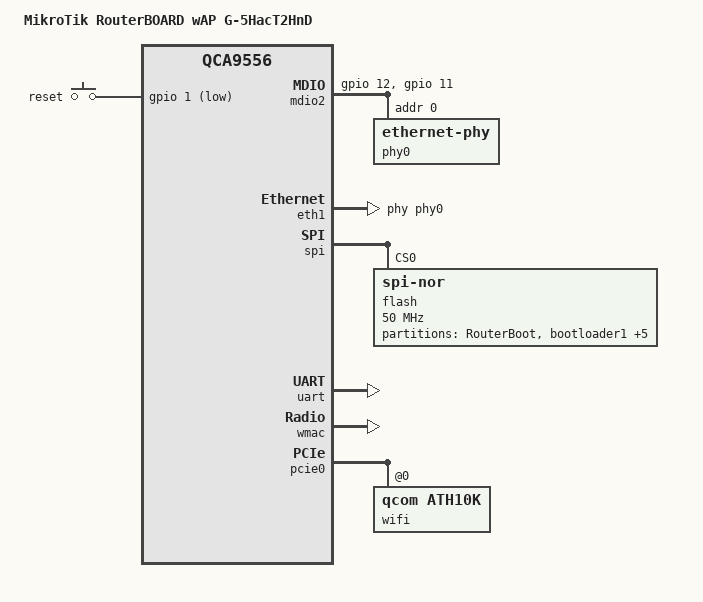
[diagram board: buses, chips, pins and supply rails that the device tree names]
// SPDX-License-Identifier: GPL-2.0-or-later OR MIT
/dts-v1/;

#include <dt-bindings/gpio/gpio.h>
#include <dt-bindings/input/input.h>

#include "qca9557.dtsi"

/ {
	compatible = "mikrotik,routerboard-wap-g-5hact2hnd", "qca,qca9556";
	model = "MikroTik RouterBOARD wAP G-5HacT2HnD";

	aliases {
		label-mac-device = &eth1;
		mdio-gpio1 = &mdio2;
		serial0 = &uart;
	};

	chosen {
		bootargs = "console=ttyS0,115200n8";
	};

	keys {
		compatible = "gpio-keys";

		reset {
			label = "reset";
			linux,code = <KEY_RESTART>;
			gpios = <&gpio 1 GPIO_ACTIVE_LOW>;
			debounce-interval = <60>;
		};
	};

	mdio2: mdio {
		compatible = "virtual,mdio-gpio";

		gpios = <&gpio 12 GPIO_ACTIVE_HIGH>, /* MDC */
			<&gpio 11 GPIO_ACTIVE_HIGH>; /* MDIO */
		#address-cells = <1>;
		#size-cells = <0>;

		phy0: ethernet-phy@0 {
			reg = <0>;
			device_type = "ethernet-phy";

			phy-mode = "sgmii";

			at803x-override-sgmii-link-check;
		};
	};
};

&eth1 {
	status = "okay";

	mtd-mac-address = <&hard_config 0x10>;

	pll-data = <0x03000101 0x80000101 0x80001313>;
	phy-handle = <&phy0>;

	qca955x-sgmii-fixup;

	gmac-config {
		device = <&gmac>;
	};
};

&spi {
	status = "okay";

	num-cs = <1>;

	flash@0 {
		compatible = "jedec,spi-nor";
		reg = <0>;
		spi-max-frequency = <50000000>;

		partitions {
			compatible = "fixed-partitions";
			#address-cells = <1>;
			#size-cells = <1>;

			partition@0 {
				label = "RouterBoot";
				reg = <0x0 0x20000>;
				read-only;
				compatible = "fixed-partitions";
				#address-cells = <1>;
				#size-cells = <1>;

				partition@0 {
					label = "bootloader1";
					reg = <0x0 0xe000>;
					read-only;
				};

				hard_config: partition@e000 {
					label = "hard_config";
					reg = <0xe000 0x1000>;
					read-only;
				};

				partition@f000 {
					label = "bios";
					reg = <0xf000 0x1000>;
					read-only;
				};

				partition@10000 {
					label = "bootloader2";
					reg = <0x10000 0xf000>;
					read-only;
				};

				partition@1f000 {
					label = "soft_config";
					reg = <0x1f000 0x1000>;
				};
			};

			partition@20000 {
				compatible = "mikrotik,minor";
				label = "firmware";
				reg = <0x020000 0xfe0000>;
			};
		};
	};
};

&uart {
	status = "okay";
};

&wmac {
	status = "okay";

	qca,no-eeprom;
};

&pcie0 {
	status = "okay";

	wifi@0,0 {
		compatible = "qcom,ath10k";
		reg = <0 0 0 0 0>;
	};
};
